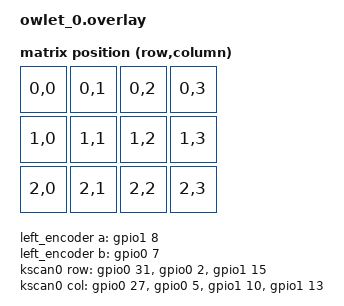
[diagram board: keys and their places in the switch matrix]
/*
 * owlet_0 键盘 shield（3×4 技术验证板）
 * 路径：boards/shields/owlet_0/owlet_0.overlay
 *
 * 承载键盘差异层：矩阵/编码器/锁定灯/RGB/屏幕 SPI 总线。
 * 屏幕面板子节点由显示 shield owlet_view 挂到 nice_view_spi 上。
 * 注意：overlay 独立预处理，所需宏的头文件必须在此显式 include。
 */
#include <dt-bindings/gpio/gpio.h>
#include <dt-bindings/led/led.h>
#include <dt-bindings/zmk/matrix_transform.h>
#include <dt-bindings/pinctrl/nrf-pinctrl.h>

/ {
	chosen {
		zmk,kscan = &kscan0;
		zmk,matrix_transform = &default_transform;
		zmk,underglow = &led_strip;
	};

	aliases {
		caps-led = &caps_lock_led;
		num-led = &num_lock_led;
	};

	/* 并入板级 leds 节点（devicetree 按路径合并） */
	leds {
		compatible = "gpio-leds";
		caps_lock_led: led_1 { gpios = <&gpio0 30 GPIO_ACTIVE_HIGH>; label = "Caps Lock LED"; };
		num_lock_led: led_2 { gpios = <&gpio0 28 GPIO_ACTIVE_HIGH>; label = "Num Lock LED"; };
	};

	left_encoder: encoder_left {
		compatible = "alps,ec11";
		label = "LEFT_ENCODER";
		a-gpios = <&gpio1 8 (GPIO_ACTIVE_HIGH | GPIO_PULL_UP)>;
		b-gpios = <&gpio0 7 (GPIO_ACTIVE_HIGH | GPIO_PULL_UP)>;
		steps = <80>;
		status = "okay";
	};

	sensors: sensors {
		compatible = "zmk,keymap-sensors";
		sensors = <&left_encoder>;
		triggers-per-rotation = <20>;
	};

	default_transform: keymap_transform_0 {
		compatible = "zmk,matrix-transform";
		columns = <4>;
		rows = <3>;
		map = <
			RC(0,0) RC(0,1) RC(0,2) RC(0,3)
			RC(1,0) RC(1,1) RC(1,2) RC(1,3)
			RC(2,0) RC(2,1) RC(2,2) RC(2,3)
		>;
	};

	kscan0: kscan {
		compatible = "zmk,kscan-gpio-matrix";
		wakeup-source;
		diode-direction = "col2row";
		row-gpios
			= <&gpio0 31 (GPIO_ACTIVE_HIGH | GPIO_PULL_DOWN)>
			, <&gpio0 2  (GPIO_ACTIVE_HIGH | GPIO_PULL_DOWN)>
			, <&gpio1 15 (GPIO_ACTIVE_HIGH | GPIO_PULL_DOWN)>
			;
		col-gpios
			= <&gpio0 27 GPIO_ACTIVE_HIGH>
			, <&gpio0 5  GPIO_ACTIVE_HIGH>
			, <&gpio1 10 GPIO_ACTIVE_HIGH>
			, <&gpio1 13 GPIO_ACTIVE_HIGH>
			;
	};
};

&pinctrl {
	spi1_default: spi1_default { group1 { psels = <NRF_PSEL(SPIM_SCK, 0, 19)>, <NRF_PSEL(SPIM_MOSI, 0, 8)>; }; };
	spi1_sleep: spi1_sleep { group1 { psels = <NRF_PSEL(SPIM_SCK, 0, 19)>, <NRF_PSEL(SPIM_MOSI, 0, 8)>; low-power-enable; }; };

	spi3_default: spi3_default { group1 { psels = <NRF_PSEL(SPIM_MOSI, 0, 29)>; }; };
	spi3_sleep: spi3_sleep { group1 { psels = <NRF_PSEL(SPIM_MOSI, 0, 29)>; low-power-enable; }; };
};

/* 屏幕 SPI 总线：只提供 nice_view_spi 标签，面板子节点由 owlet_view 挂入 */
nice_view_spi: &spi1 {
	compatible = "nordic,nrf-spim";
	status = "okay";
	pinctrl-0 = <&spi1_default>;
	pinctrl-1 = <&spi1_sleep>;
	pinctrl-names = "default", "sleep";
	cs-gpios = <&gpio1 9 GPIO_ACTIVE_HIGH>;
	#address-cells = <1>;
	#size-cells = <0>;
};

&spi3 {
	compatible = "nordic,nrf-spim";
	status = "okay";
	pinctrl-0 = <&spi3_default>;
	pinctrl-1 = <&spi3_sleep>;
	pinctrl-names = "default", "sleep";

	led_strip: ws2812@0 {
		compatible = "worldsemi,ws2812-spi";
		status = "okay";
		reg = <0>;
		spi-max-frequency = <4000000>;
		chain-length = <11>;
		spi-one-frame = <0x70>;
		spi-zero-frame = <0x40>;
		color-mapping = <LED_COLOR_ID_GREEN LED_COLOR_ID_RED LED_COLOR_ID_BLUE>;
	};
};

/*
 * 引脚覆盖说明（供未来键盘参照）：
 * 1. I2C SDA/SCL：本板沿用板级默认 P0.06/P0.26。其它键盘改引脚时在本 overlay 覆盖：
 *    &pinctrl {
 *        i2c0_default: i2c0_default { group1 { psels = <NRF_PSEL(TWIM_SCL, 端口, 脚)>, <NRF_PSEL(TWIM_SDA, 端口, 脚)>; bias-pull-up; }; };
 *        i2c0_sleep:   i2c0_sleep   { group1 { psels = <同上>; bias-pull-up; low-power-enable; }; };
 *    };
 * 2. BQ25601 INT：当前仍由 Kconfig 指定(P0.12)，2B 步骤改为设备树 int-gpios 属性后在此覆盖。
 */
